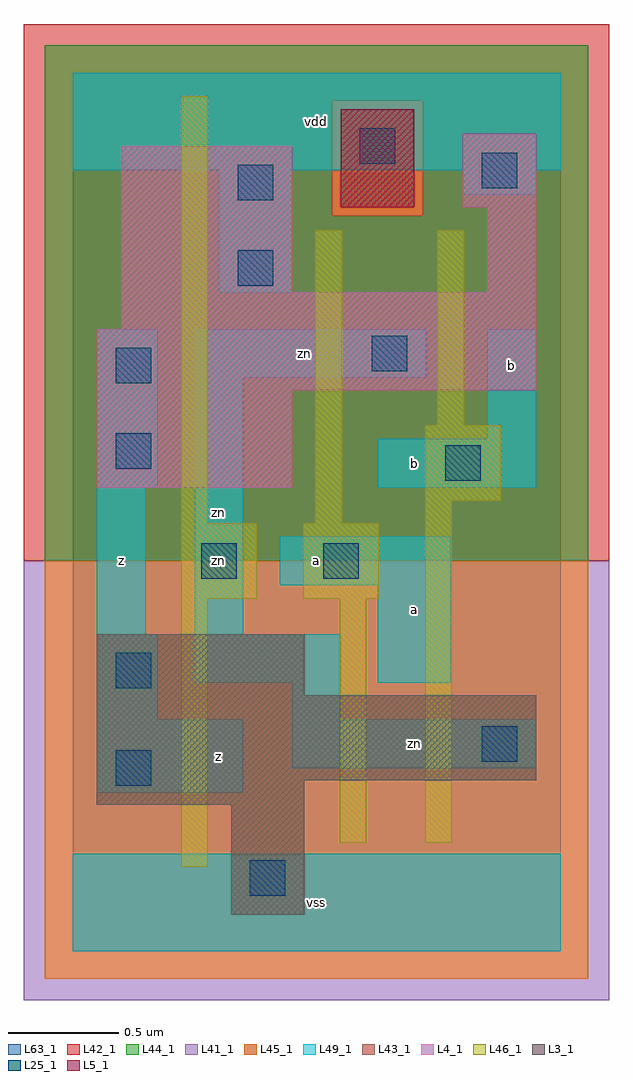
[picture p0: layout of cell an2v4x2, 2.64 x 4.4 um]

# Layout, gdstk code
import gdstk
lib = gdstk.Library(unit=1e-6, precision=1e-09)
def R(c, l, rs):  # rectangles x0, y0, x1, y1
    for r in rs: c.add(gdstk.rectangle(r[:2], r[2:], *l))
L3_1 = (3, 1)
L4_1 = (4, 1)
L5_1 = (5, 1)
L25_1 = (25, 1)
L41_1 = (41, 1)
L42_1 = (42, 1)
L43_1 = (43, 1)
L44_1 = (44, 1)
L45_1 = (45, 1)
L46_1 = (46, 1)
L49_1 = (49, 1)
L63_1 = (63, 1)

an2v4x2 = lib.new_cell('an2v4x2')
R(an2v4x2, L3_1, [(0.715,0.165,1.045,0.66), (0.11,0.66,1.045,0.77), (0.11,0.77,2.09,1.155), (0.11,1.155,1.045,1.43)])
R(an2v4x2, L4_1, [(0.11,2.09,0.99,2.53), (0.11,2.53,2.09,2.805), (0.22,2.805,2.09,2.97), (0.22,2.97,0.99,3.63), (1.87,2.97,2.09,3.355), (1.76,3.355,2.09,3.685)])
R(an2v4x2, L5_1, [(1.21,3.355,1.54,3.795)])
R(an2v4x2, L25_1, [(0.8,0.25,0.96,0.41), (0.195,0.745,0.355,0.905), (1.845,0.855,2.005,1.015), (0.195,1.185,0.355,1.345), (0.58,1.68,0.74,1.84), (1.13,1.68,1.29,1.84), (1.68,2.12,1.84,2.28), (0.195,2.175,0.355,2.335), (0.195,2.56,0.355,2.72), (1.35,2.615,1.51,2.775), (0.745,3,0.905,3.16), (0.745,3.385,0.905,3.545), (1.845,3.44,2.005,3.6), (1.295,3.55,1.455,3.71)])
R(an2v4x2, L41_1, [(-0.22,-0.22,2.42,1.76)])
R(an2v4x2, L42_1, [(-0.22,1.76,2.42,4.18)])
R(an2v4x2, L43_1, [(0.715,0.165,1.045,0.66), (0.11,0.66,1.045,0.77), (0.11,0.77,2.09,1.155), (0.11,1.155,1.045,1.43), (0.11,2.09,0.99,2.53), (0.11,2.53,2.09,2.805), (0.22,2.805,2.09,2.97), (0.22,2.97,0.99,3.63), (1.87,2.97,2.09,3.355), (1.21,3.355,1.54,3.795), (1.76,3.355,2.09,3.685)])
R(an2v4x2, L44_1, [(-0.125,1.76,2.325,3.315), (-0.125,3.315,1.17,3.835), (1.58,3.315,2.325,3.835), (-0.125,3.835,2.325,4.085)])
R(an2v4x2, L45_1, [(-0.125,-0.125,2.325,1.76), (1.17,3.315,1.58,3.835)])
R(an2v4x2, L46_1, [(0.49,0.38,0.61,1.59), (1.205,0.49,1.325,1.59), (1.59,0.49,1.71,2.03), (0.49,1.59,0.83,1.93), (1.04,1.59,1.38,1.93), (0.49,1.93,0.61,3.855), (1.095,1.93,1.215,3.25), (1.59,2.03,1.93,2.37), (1.645,2.37,1.765,3.25)])
R(an2v4x2, L49_1, [(0,0,2.2,0.44), (0.11,0.715,0.77,1.045), (0.99,0.825,2.09,1.045), (0.11,1.045,0.385,1.43), (0.99,1.045,1.21,1.21), (0.55,1.21,1.21,1.43), (1.375,1.21,1.705,1.65), (0.11,1.43,0.33,2.09), (0.55,1.43,0.77,2.585), (0.935,1.65,1.705,1.87), (0.11,2.09,0.385,2.805), (1.375,2.09,2.09,2.31), (1.87,2.31,2.09,2.805), (0.55,2.585,1.595,2.805), (0.66,2.97,0.99,3.52), (1.76,3.41,2.09,3.52), (0,3.52,2.2,3.96)])
R(an2v4x2, L63_1, [(0,0,2.2,3.96)])
an2v4x2.add(gdstk.Label('zn', (0.66,1.76), layer=49, texttype=1))
an2v4x2.add(gdstk.Label('z', (0.22,1.76), layer=49, texttype=1))
an2v4x2.add(gdstk.Label('z', (0.66,0.88), layer=49, texttype=1))
an2v4x2.add(gdstk.Label('zn', (0.66,1.98), layer=49, texttype=1))
an2v4x2.add(gdstk.Label('vss', (1.1,0.22), layer=49, texttype=1))
an2v4x2.add(gdstk.Label('a', (1.1,1.76), layer=49, texttype=1))
an2v4x2.add(gdstk.Label('a', (1.54,1.54), layer=49, texttype=1))
an2v4x2.add(gdstk.Label('b', (1.54,2.2), layer=49, texttype=1))
an2v4x2.add(gdstk.Label('zn', (1.045,2.695), layer=49, texttype=1))
an2v4x2.add(gdstk.Label('vdd', (1.1,3.74), layer=49, texttype=1))
an2v4x2.add(gdstk.Label('zn', (1.54,0.935), layer=49, texttype=1))
an2v4x2.add(gdstk.Label('b', (1.98,2.64), layer=49, texttype=1))

lib.write_gds('an2v4x2.gds')
